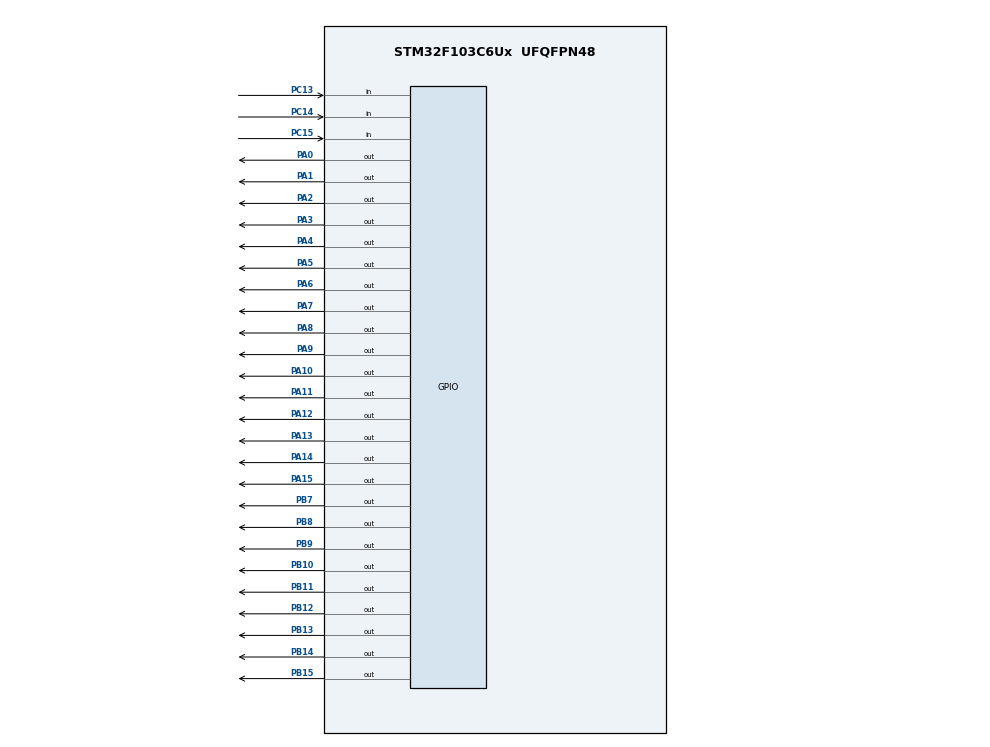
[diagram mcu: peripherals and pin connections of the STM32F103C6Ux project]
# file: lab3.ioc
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Mcu.Family=STM32F1
Mcu.Name=STM32F103C6Ux
Mcu.Package=UFQFPN48
NVIC.PriorityGroup=NVIC_PRIORITYGROUP_4
NVIC.TIM2_IRQn=true\:0\:0\:false\:false\:true\:true\:true\:true
PA0-WKUP.Signal=GPIO_Output
PA1.Signal=GPIO_Output
PA10.Signal=GPIO_Output
PA11.Signal=GPIO_Output
PA12.Signal=GPIO_Output
PA13.Signal=GPIO_Output
PA14.Signal=GPIO_Output
PA15.Signal=GPIO_Output
PA2.Signal=GPIO_Output
PA3.Signal=GPIO_Output
PA4.Signal=GPIO_Output
PA5.Signal=GPIO_Output
PA6.Signal=GPIO_Output
PA7.Signal=GPIO_Output
PA8.Signal=GPIO_Output
PA9.Signal=GPIO_Output
PB10.Signal=GPIO_Output
PB11.Signal=GPIO_Output
PB12.Signal=GPIO_Output
PB13.Signal=GPIO_Output
PB14.Signal=GPIO_Output
PB15.Signal=GPIO_Output
PB7.Signal=GPIO_Output
PB8.Signal=GPIO_Output
PB9.Signal=GPIO_Output
PC13-TAMPER-RTC.GPIO_PuPd=GPIO_PULLUP
PC13-TAMPER-RTC.Signal=GPIO_Input
PC14-OSC32_IN.GPIO_PuPd=GPIO_PULLUP
PC14-OSC32_IN.Signal=GPIO_Input
PC15-OSC32_OUT.GPIO_PuPd=GPIO_PULLUP
PC15-OSC32_OUT.Signal=GPIO_Input
ProjectManager.HeapSize=0x200
ProjectManager.StackSize=0x400
ProjectManager.TargetToolchain=STM32CubeIDE
RCC.APB1Freq_Value=8000000
RCC.APB2Freq_Value=8000000
TIM2.Period=9
TIM2.Prescaler=7999
VP_TIM2_VS_ClockSourceINT.Mode=Internal
board=custom

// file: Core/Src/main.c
/* USER CODE BEGIN Header */
/**
  ******************************************************************************
  * @file           : main.c
  * @brief          : Main program body
  ******************************************************************************
  * @attention
  *
  * Copyright (c) 2023 STMicroelectronics.
  * All rights reserved.
  *
  * This software is licensed under terms that can be found in the LICENSE file
  * in the root directory of this software component.
  * If no LICENSE file comes with this software, it is provided AS-IS.
  *
  ******************************************************************************
  */
/* USER CODE END Header */
#include "main.h"

/* USER CODE BEGIN Includes */
#include "softwaretimer.h"
#include "7led.h"
#include "button0.h"
#include "button1.h"
#include "button2.h"
/* USER CODE END Includes */

TIM_HandleTypeDef htim2;

void SystemClock_Config(void);
static void MX_GPIO_Init(void);
static void MX_TIM2_Init(void);

int main(void)
{

  /* MCU Configuration--------------------------------------------------------*/

  /* Reset of all peripherals, Initializes the Flash interface and the Systick. */
  HAL_Init();

  /* Configure the system clock */
  SystemClock_Config();

  /* Initialize all configured peripherals */
  MX_GPIO_Init();
  MX_TIM2_Init();
  /* USER CODE BEGIN 2 */

	HAL_TIM_Base_Start_IT(&htim2);
	int tempvalue;
	int ledswitchingflag = 0;
	int mode = 1;
	int OnStartUp1 = 0;
	int OnStartUp2 = 0;
	int OnStartUp3 = 0;
	int OnStartUp4 = 1;
	int trafficlightred = 5;
	int trafficlightyellow = 2;
	int trafficlightgreen = 3;
	int status1 = 1;
	int status2 = 2;
	int value7A = trafficlightred;
	int value7B = trafficlightgreen;
	sevenledsetA(value7A%10);
	sevenledsetB(value7B%10);

	setTimer0(100);
	setTimer1(trafficlightred*100);
	setTimer2(trafficlightgreen*100);
	setTimer3(100);
	setTimer4(100);
	HAL_GPIO_WritePin(GPIOA, GPIO_PIN_14, 0);
	HAL_GPIO_WritePin(GPIOA, GPIO_PIN_15, 0);
	HAL_GPIO_WritePin(GPIOB, GPIO_PIN_14, 0);
	HAL_GPIO_WritePin(GPIOB, GPIO_PIN_15, 0);
  /* USER CODE END 2 */

  /* Infinite loop */
  while (1)
  {
	if (button0_trigger == 1)
	{
		button0_trigger = 0;
		mode++;
		if (mode > 4) mode = 1;
		if (mode == 2) OnStartUp2 = 1;
		if (mode == 3) OnStartUp3 = 1;
		if (mode == 4) OnStartUp4 = 1;
		if (mode == 1) OnStartUp1 = 1;
	}
	if (mode == 1)
	{
		if (OnStartUp1)
		{
			OnStartUp1 = 0;
			status1 = 1;
			status2 = 2;
			value7A = trafficlightred;
			value7B = trafficlightgreen;
			sevenledsetA(value7A%10);
			sevenledsetB(value7B%10);

			setTimer0(100);
			setTimer1(trafficlightred*100);
			setTimer2(trafficlightgreen*100);
			setTimer3(100);
			setTimer4(100);
			HAL_GPIO_WritePin(GPIOA, GPIO_PIN_14, 0);
			HAL_GPIO_WritePin(GPIOA, GPIO_PIN_15, 0);
			HAL_GPIO_WritePin(GPIOB, GPIO_PIN_14, 0);
			HAL_GPIO_WritePin(GPIOB, GPIO_PIN_15, 0);
		}
		if (trafficlightred == trafficlightgreen + trafficlightyellow)
		{
			if (timerflag0 == 1)
			{
				HAL_GPIO_TogglePin(GPIOA, GPIO_PIN_0);
				setTimer0(100);
			}
		}
		else
		{
			HAL_GPIO_WritePin(GPIOA, GPIO_PIN_0, 1);
		}
		switch(status1)
		{
			case 1:
				HAL_GPIO_WritePin(GPIOA, GPIO_PIN_1, 1);
				HAL_GPIO_WritePin(GPIOA, GPIO_PIN_2, 0);
				HAL_GPIO_WritePin(GPIOA, GPIO_PIN_3, 0);
				if (timerflag1 == 1)
				{
					setTimer1(trafficlightgreen*100);
					status1 = 2;
				}
				break;
			case 2:
				HAL_GPIO_WritePin(GPIOA, GPIO_PIN_1, 0);
				HAL_GPIO_WritePin(GPIOA, GPIO_PIN_2, 0);
				HAL_GPIO_WritePin(GPIOA, GPIO_PIN_3, 1);
				if (timerflag1 == 1)
				{
					setTimer1(trafficlightyellow*100);
					status1 = 3;
				}
				break;
			case 3:
				HAL_GPIO_WritePin(GPIOA, GPIO_PIN_1, 0);
				HAL_GPIO_WritePin(GPIOA, GPIO_PIN_2, 1);
				HAL_GPIO_WritePin(GPIOA, GPIO_PIN_3, 0);
				if (timerflag1 == 1)
				{
					setTimer1(trafficlightred*100);
					status1 = 1;
				}
				break;
			default:
				HAL_GPIO_WritePin(GPIOA, GPIO_PIN_1, 1);
				HAL_GPIO_WritePin(GPIOA, GPIO_PIN_2, 1);
				HAL_GPIO_WritePin(GPIOA, GPIO_PIN_3, 1);
				break;
		}
		switch(status2)
		{
			case 1:
				HAL_GPIO_WritePin(GPIOA, GPIO_PIN_4, 1);
				HAL_GPIO_WritePin(GPIOA, GPIO_PIN_5, 0);
				HAL_GPIO_WritePin(GPIOA, GPIO_PIN_6, 0);
				if (timerflag2 == 1)
				{
					setTimer2(trafficlightgreen*100);
					status2 = 2;
				}
				break;
			case 2:
				HAL_GPIO_WritePin(GPIOA, GPIO_PIN_4, 0);
				HAL_GPIO_WritePin(GPIOA, GPIO_PIN_5, 0);
				HAL_GPIO_WritePin(GPIOA, GPIO_PIN_6, 1);
				if (timerflag2 == 1)
				{
					setTimer2(trafficlightyellow*100);
					status2 = 3;
				}
				break;
			case 3:
				HAL_GPIO_WritePin(GPIOA, GPIO_PIN_4, 0);
				HAL_GPIO_WritePin(GPIOA, GPIO_PIN_5, 1);
				HAL_GPIO_WritePin(GPIOA, GPIO_PIN_6, 0);
				if (timerflag2 == 1)
				{
					setTimer2(trafficlightred*100);
					status2 = 1;
				}
				break;
			default:
				HAL_GPIO_WritePin(GPIOA, GPIO_PIN_4, 1);
				HAL_GPIO_WritePin(GPIOA, GPIO_PIN_5, 1);
				HAL_GPIO_WritePin(GPIOA, GPIO_PIN_6, 1);
				break;
		}
		if (timerflag3 == 1)
		{
			value7A--;
			if (value7A == 0)
			{
				sevenledsetA(value7A%10);
				setTimer3(20);
			}
			if (value7A > 0)
			{
				sevenledsetA(value7A%10);
				setTimer3(100);
			}
			if (value7A < 0)
			{
				if (status1 == 2) {value7A = trafficlightgreen; sevenledsetA(value7A%10);}
				if (status1 == 3) {value7A = trafficlightyellow; sevenledsetA(value7A%10);}
				if (status1 == 1) {value7A = trafficlightred; sevenledsetA(value7A%10);}
				setTimer3(80);
			}
		}
		if (timerflag4 == 1)
		{
			value7B--;
			if (value7B == 0)
			{
				sevenledsetB(value7B%10);
				setTimer4(20);
			}
			if (value7B > 0)
			{
				sevenledsetB(value7B%10);
				setTimer4(100);
			}
			if (value7B < 0)
			{
				if (status2 == 2) {value7B = trafficlightgreen; sevenledsetB(value7B%10);}
				if (status2 == 3) {value7B = trafficlightyellow; sevenledsetB(value7B%10);}
				if (status2 == 1) {value7B = trafficlightred; sevenledsetB(value7B%10);}
				setTimer4(80);
			}
		}
	}
	if (mode == 2)
	{
		if (OnStartUp2)
		{
			OnStartUp2 = 0;
			HAL_GPIO_WritePin(GPIOA, GPIO_PIN_0, 0);
			HAL_GPIO_WritePin(GPIOA, GPIO_PIN_1, 1);
			HAL_GPIO_WritePin(GPIOA, GPIO_PIN_2, 0);
			HAL_GPIO_WritePin(GPIOA, GPIO_PIN_3, 0);
			HAL_GPIO_WritePin(GPIOA, GPIO_PIN_4, 1);
			HAL_GPIO_WritePin(GPIOA, GPIO_PIN_5, 0);
			HAL_GPIO_WritePin(GPIOA, GPIO_PIN_6, 0);

			HAL_GPIO_WritePin(GPIOA, GPIO_PIN_14, 1);
			HAL_GPIO_WritePin(GPIOA, GPIO_PIN_15, 0);

			HAL_GPIO_WritePin(GPIOB, GPIO_PIN_14, 0);
			HAL_GPIO_WritePin(GPIOB, GPIO_PIN_15, 0);

			tempvalue = trafficlightred;
			sevenledsetA(tempvalue%10);
			ledswitchingflag = 0;
			sevenledsetB(2);
			setTimer0(50);
			setTimer1(25);
			setTimer2(50);
		}
		if (timerflag0 == 1)
		{
			//HAL_GPIO_TogglePin(GPIOA, GPIO_PIN_0);
			HAL_GPIO_TogglePin(GPIOA, GPIO_PIN_1);
			HAL_GPIO_TogglePin(GPIOA, GPIO_PIN_4);
			//HAL_GPIO_TogglePin(GPIOB, GPIO_PIN_14);
			//HAL_GPIO_TogglePin(GPIOB, GPIO_PIN_15);
			setTimer0(50);
		}
		if (timerflag1 == 1)
		{
			if (ledswitchingflag == 0)
			{
				ledswitchingflag = 1;
				sevenledsetA(tempvalue/10);
			}
			else
			{
				ledswitchingflag = 0;
				sevenledsetA(tempvalue%10);
			}
			HAL_GPIO_TogglePin(GPIOA, GPIO_PIN_14);
			HAL_GPIO_TogglePin(GPIOA, GPIO_PIN_15);
			setTimer1(25);
		}
		if (button1_trigger == 1)
		{
			button1_trigger = 0;
			tempvalue++;
			if (tempvalue >= 100)
			{
				tempvalue = 1;
			}
		}
		if (button1_trigger_long == 1)
		{
			if (timerflag2 == 1)
			{
				tempvalue++;
				if (tempvalue >= 100)
				{
					tempvalue = 1;
				}
				setTimer2(50);
			}
		}
		if (button2_trigger == 1)
		{
			button2_trigger = 0;
			trafficlightred = tempvalue;
		}
	}
	if (mode == 3)
	{
		if (OnStartUp3)
		{
			OnStartUp3 = 0;
			HAL_GPIO_WritePin(GPIOA, GPIO_PIN_0, 0);
			HAL_GPIO_WritePin(GPIOA, GPIO_PIN_1, 0);
			HAL_GPIO_WritePin(GPIOA, GPIO_PIN_2, 1);
			HAL_GPIO_WritePin(GPIOA, GPIO_PIN_3, 0);
			HAL_GPIO_WritePin(GPIOA, GPIO_PIN_4, 0);
			HAL_GPIO_WritePin(GPIOA, GPIO_PIN_5, 1);
			HAL_GPIO_WritePin(GPIOA, GPIO_PIN_6, 0);

			HAL_GPIO_WritePin(GPIOA, GPIO_PIN_14, 1);
			HAL_GPIO_WritePin(GPIOA, GPIO_PIN_15, 0);

			HAL_GPIO_WritePin(GPIOB, GPIO_PIN_14, 0);
			HAL_GPIO_WritePin(GPIOB, GPIO_PIN_15, 0);

			tempvalue = trafficlightyellow;
			sevenledsetA(tempvalue%10);
			ledswitchingflag = 0;
			sevenledsetB(3);
			setTimer0(50);
			setTimer1(25);
			setTimer2(50);
		}
		if (timerflag0 == 1)
		{
			//HAL_GPIO_TogglePin(GPIOA, GPIO_PIN_0);
			HAL_GPIO_TogglePin(GPIOA, GPIO_PIN_2);
			HAL_GPIO_TogglePin(GPIOA, GPIO_PIN_5);
			//HAL_GPIO_TogglePin(GPIOB, GPIO_PIN_14);
			//HAL_GPIO_TogglePin(GPIOB, GPIO_PIN_15);
			setTimer0(50);
		}
		if (timerflag1 == 1)
		{
			if (ledswitchingflag == 0)
			{
				ledswitchingflag = 1;
				sevenledsetA(tempvalue/10);
			}
			else
			{
				ledswitchingflag = 0;
				sevenledsetA(tempvalue%10);
			}
			HAL_GPIO_TogglePin(GPIOA, GPIO_PIN_14);
			HAL_GPIO_TogglePin(GPIOA, GPIO_PIN_15);
			setTimer1(25);
		}
		if (button1_trigger == 1)
		{
			button1_trigger = 0;
			tempvalue++;
			if (tempvalue >= 100)
			{
				tempvalue = 1;
			}
		}
		if (button1_trigger_long == 1)
		{
			if (timerflag2 == 1)
			{
				tempvalue++;
				if (tempvalue >= 100)
				{
					tempvalue = 1;
				}
				setTimer2(50);
			}
		}
		if (button2_trigger == 1)
		{
			button2_trigger = 0;
			trafficlightyellow = tempvalue;
		}
	}
	if (mode == 4)
	{
		if (OnStartUp4)
		{
			OnStartUp4 = 0;
			HAL_GPIO_WritePin(GPIOA, GPIO_PIN_0, 0);
			HAL_GPIO_WritePin(GPIOA, GPIO_PIN_1, 0);
			HAL_GPIO_WritePin(GPIOA, GPIO_PIN_2, 0);
			HAL_GPIO_WritePin(GPIOA, GPIO_PIN_3, 1);
			HAL_GPIO_WritePin(GPIOA, GPIO_PIN_4, 0);
			HAL_GPIO_WritePin(GPIOA, GPIO_PIN_5, 0);
			HAL_GPIO_WritePin(GPIOA, GPIO_PIN_6, 1);

			HAL_GPIO_WritePin(GPIOA, GPIO_PIN_14, 1);
			HAL_GPIO_WritePin(GPIOA, GPIO_PIN_15, 0);

			HAL_GPIO_WritePin(GPIOB, GPIO_PIN_14, 0);
			HAL_GPIO_WritePin(GPIOB, GPIO_PIN_15, 0);

			tempvalue = trafficlightgreen;
			sevenledsetA(tempvalue%10);
			ledswitchingflag = 0;
			sevenledsetB(4);
			setTimer0(50);
			setTimer1(25);
			setTimer2(50);
		}
		if (timerflag0 == 1)
		{
			//HAL_GPIO_TogglePin(GPIOA, GPIO_PIN_0);
			HAL_GPIO_TogglePin(GPIOA, GPIO_PIN_3);
			HAL_GPIO_TogglePin(GPIOA, GPIO_PIN_6);
			//HAL_GPIO_TogglePin(GPIOB, GPIO_PIN_14);
			//HAL_GPIO_TogglePin(GPIOB, GPIO_PIN_15);
			setTimer0(50);
		}
		if (timerflag1 == 1)
		{
			if (ledswitchingflag == 0)
			{
				ledswitchingflag = 1;
				sevenledsetA(tempvalue/10);
			}
			else
			{
				ledswitchingflag = 0;
				sevenledsetA(tempvalue%10);
			}
			HAL_GPIO_TogglePin(GPIOA, GPIO_PIN_14);
			HAL_GPIO_TogglePin(GPIOA, GPIO_PIN_15);
			setTimer1(25);
		}
		if (button1_trigger == 1)
		{
			button1_trigger = 0;
			tempvalue++;
			if (tempvalue >= 100)
			{
				tempvalue = 1;
			}
		}
		if (button1_trigger_long == 1)
		{
			if (timerflag2 == 1)
			{
				tempvalue++;
				if (tempvalue >= 100)
				{
					tempvalue = 1;
				}
				setTimer2(50);
			}
		}
		if (button2_trigger == 1)
		{
			button2_trigger = 0;
			trafficlightgreen = tempvalue;
		}
	}
  }
}

void SystemClock_Config(void)
{
  RCC_OscInitTypeDef RCC_OscInitStruct = {0};
  RCC_ClkInitTypeDef RCC_ClkInitStruct = {0};

  /** Initializes the RCC Oscillators according to the specified parameters
  * in the RCC_OscInitTypeDef structure.
  */
  RCC_OscInitStruct.OscillatorType = RCC_OSCILLATORTYPE_HSI;
  RCC_OscInitStruct.HSIState = RCC_HSI_ON;
  RCC_OscInitStruct.HSICalibrationValue = RCC_HSICALIBRATION_DEFAULT;
  RCC_OscInitStruct.PLL.PLLState = RCC_PLL_NONE;
  if (HAL_RCC_OscConfig(&RCC_OscInitStruct) != HAL_OK)
  {
    Error_Handler();
  }

  /** Initializes the CPU, AHB and APB buses clocks
  */
  RCC_ClkInitStruct.ClockType = RCC_CLOCKTYPE_HCLK|RCC_CLOCKTYPE_SYSCLK
                              |RCC_CLOCKTYPE_PCLK1|RCC_CLOCKTYPE_PCLK2;
  RCC_ClkInitStruct.SYSCLKSource = RCC_SYSCLKSOURCE_HSI;
  RCC_ClkInitStruct.AHBCLKDivider = RCC_SYSCLK_DIV1;
  RCC_ClkInitStruct.APB1CLKDivider = RCC_HCLK_DIV1;
  RCC_ClkInitStruct.APB2CLKDivider = RCC_HCLK_DIV1;

  if (HAL_RCC_ClockConfig(&RCC_ClkInitStruct, FLASH_LATENCY_0) != HAL_OK)
  {
    Error_Handler();
  }
}

static void MX_TIM2_Init(void)
{

  TIM_ClockConfigTypeDef sClockSourceConfig = {0};
  TIM_MasterConfigTypeDef sMasterConfig = {0};

  htim2.Instance = TIM2;
  htim2.Init.Prescaler = 7999;
  htim2.Init.CounterMode = TIM_COUNTERMODE_UP;
  htim2.Init.Period = 9;
  htim2.Init.ClockDivision = TIM_CLOCKDIVISION_DIV1;
  htim2.Init.AutoReloadPreload = TIM_AUTORELOAD_PRELOAD_DISABLE;
  if (HAL_TIM_Base_Init(&htim2) != HAL_OK)
  {
    Error_Handler();
  }
  sClockSourceConfig.ClockSource = TIM_CLOCKSOURCE_INTERNAL;
  if (HAL_TIM_ConfigClockSource(&htim2, &sClockSourceConfig) != HAL_OK)
  {
    Error_Handler();
  }
  sMasterConfig.MasterOutputTrigger = TIM_TRGO_RESET;
  sMasterConfig.MasterSlaveMode = TIM_MASTERSLAVEMODE_DISABLE;
  if (HAL_TIMEx_MasterConfigSynchronization(&htim2, &sMasterConfig) != HAL_OK)
  {
    Error_Handler();
  }

}

static void MX_GPIO_Init(void)
{
  GPIO_InitTypeDef GPIO_InitStruct = {0};

  /* GPIO Ports Clock Enable */
  __HAL_RCC_GPIOC_CLK_ENABLE();
  __HAL_RCC_GPIOA_CLK_ENABLE();
  __HAL_RCC_GPIOB_CLK_ENABLE();

  /*Configure GPIO pin Output Level */
  HAL_GPIO_WritePin(GPIOA, GPIO_PIN_0|GPIO_PIN_1|GPIO_PIN_2|GPIO_PIN_3
                          |GPIO_PIN_4|GPIO_PIN_5|GPIO_PIN_6|GPIO_PIN_7
                          |GPIO_PIN_8|GPIO_PIN_9|GPIO_PIN_10|GPIO_PIN_11
                          |GPIO_PIN_12|GPIO_PIN_13|GPIO_PIN_14|GPIO_PIN_15, GPIO_PIN_RESET);

  /*Configure GPIO pin Output Level */
  HAL_GPIO_WritePin(GPIOB, GPIO_PIN_10|GPIO_PIN_11|GPIO_PIN_12|GPIO_PIN_13
                          |GPIO_PIN_14|GPIO_PIN_15|GPIO_PIN_7|GPIO_PIN_8
                          |GPIO_PIN_9, GPIO_PIN_RESET);

  /*Configure GPIO pins : PC13 PC14 PC15 */
  GPIO_InitStruct.Pin = GPIO_PIN_13|GPIO_PIN_14|GPIO_PIN_15;
  GPIO_InitStruct.Mode = GPIO_MODE_INPUT;
  GPIO_InitStruct.Pull = GPIO_PULLUP;
  HAL_GPIO_Init(GPIOC, &GPIO_InitStruct);

  /*Configure GPIO pins : PA0 PA1 PA2 PA3
                           PA4 PA5 PA6 PA7
                           PA8 PA9 PA10 PA11
                           PA12 PA13 PA14 PA15 */
  GPIO_InitStruct.Pin = GPIO_PIN_0|GPIO_PIN_1|GPIO_PIN_2|GPIO_PIN_3
                          |GPIO_PIN_4|GPIO_PIN_5|GPIO_PIN_6|GPIO_PIN_7
                          |GPIO_PIN_8|GPIO_PIN_9|GPIO_PIN_10|GPIO_PIN_11
                          |GPIO_PIN_12|GPIO_PIN_13|GPIO_PIN_14|GPIO_PIN_15;
  GPIO_InitStruct.Mode = GPIO_MODE_OUTPUT_PP;
  GPIO_InitStruct.Pull = GPIO_NOPULL;
  GPIO_InitStruct.Speed = GPIO_SPEED_FREQ_LOW;
  HAL_GPIO_Init(GPIOA, &GPIO_InitStruct);

  /*Configure GPIO pins : PB10 PB11 PB12 PB13
                           PB14 PB15 PB7 PB8
                           PB9 */
  GPIO_InitStruct.Pin = GPIO_PIN_10|GPIO_PIN_11|GPIO_PIN_12|GPIO_PIN_13
                          |GPIO_PIN_14|GPIO_PIN_15|GPIO_PIN_7|GPIO_PIN_8
                          |GPIO_PIN_9;
  GPIO_InitStruct.Mode = GPIO_MODE_OUTPUT_PP;
  GPIO_InitStruct.Pull = GPIO_NOPULL;
  GPIO_InitStruct.Speed = GPIO_SPEED_FREQ_LOW;
  HAL_GPIO_Init(GPIOB, &GPIO_InitStruct);

}

/* USER CODE BEGIN 4 */
void HAL_TIM_PeriodElapsedCallback(TIM_HandleTypeDef *htim)
{
	runTimer0();
	runTimer1();
	runTimer2();
	runTimer3();
	runTimer4();
	GetkeyInput0();
	GetkeyInput1();
	GetkeyInput2();
}
/* USER CODE END 4 */

void Error_Handler(void)
{
  __disable_irq();
  while (1)
  {
  }
}
